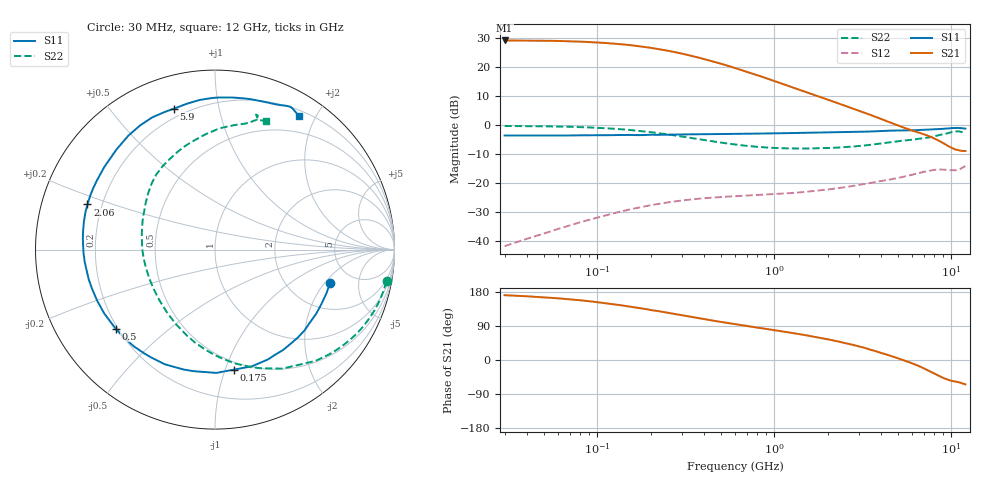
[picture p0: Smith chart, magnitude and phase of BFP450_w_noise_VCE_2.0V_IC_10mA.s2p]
! Infineon Technologies  Discrete & RF Semiconductors
! BFP450
! VCE =  2.0 V,  IC =  10 mA
! Common Emitter S-Parameters:  Nov 2015
# GHz  S  MA  R  50
!  f  S11  S21  S12  S22
! GHz  MAG  ANG  MAG  ANG  MAG  ANG  MAG  ANG
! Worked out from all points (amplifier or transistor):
!   239 points, 30 MHz to 12 GHz, reference 50 ohm
!   highest |S21| = 29.2 dB at 30 MHz (marker M1)
!   |S21| within 3 dB of that: start of sweep to 223.6 MHz
!   unconditionally stable (mu >= 1): 2.063 GHz to end of sweep
!   at 300 MHz: K = 0.17, MSG = 25.3 dB, |S12| = -25.9 dB
!   at 1.88 GHz: K = 0.94, MSG = 15.9 dB, |S12| = -22.3 dB
!   at 12 GHz: K = 1.13, MAG = 0.4 dB, |S12| = -14.0 dB
!   lowest NFmin = 0.98 dB at 450 MHz
!   S11 on the Smith chart (normalised r, x): 30 MHz: 3.42, -2.27; 175 MHz: 0.44, -1.07; 500 MHz: 0.19, -0.34; 2.06 GHz: 0.14, +0.17; 5.9 GHz: 0.16, +0.74; 12 GHz: 0.28, +1.78
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0.03  0.6676 -16.0  28.81 171.0  0.0083 83.3  0.9718 -10.5
0.04  0.667 -21.3  28.67 168.2  0.0111 81.0  0.9663 -13.9
0.055  0.6661 -29.7  28.4 164.0  0.015 76.6  0.9553 -19.0
0.085  0.6721 -44.5  27.29 156.4  0.0225 70.0  0.9238 -29.0
0.105  0.6741 -53.8  26.36 151.5  0.0267 66.0  0.8978 -35.2
0.125  0.6766 -62.2  25.37 146.9  0.0307 62.1  0.8699 -41.1
0.15  0.682 -72.4  24.16 141.4  0.0352 57.7  0.8342 -48.1
0.175  0.677 -80.9  22.77 137.0  0.0386 53.7  0.7934 -54.0
0.2  0.687 -89.4  21.54 132.0  0.0421 50.3  0.7619 -60.5
0.24  0.6878 -100.0  19.64 126.1  0.0461 45.5  0.7085 -68.9
0.3  0.6975 -113.7  17.12 117.9  0.0508 39.9  0.6418 -80.5
0.36  0.6999 -124.1  15.01 111.7  0.0539 35.7  0.5881 -90.0
0.4  0.7036 -130.0  13.81 107.8  0.0555 33.4  0.5589 -95.8
0.5  0.7077 -141.5  11.42 100.4  0.0584 29.3  0.5034 -108.2
0.6  0.7125 -150.1  9.649 94.4  0.0602 26.7  0.4668 -118.3
0.9  0.723 -167.0  6.452 81.9  0.0641 23.2  0.4149 -140.3
1.2  0.7326 -178.2  4.77 72.9  0.0676 22.3  0.3999 -155.5
1.64  0.7446 169.8  3.425 62.4  0.0732 22.3  0.3996 -171.5
2.06  0.7536 160.5  2.682 53.6  0.0792 22.0  0.407 176.8
4.5  0.8081 121.1  1.118 11.3  0.1163 12.9  0.5108 133.6
5.9  0.8178 106.3  0.826 -7.4  0.1389 4.8  0.561 117.5
12  0.877 57.9  0.361 -64.3  0.1986 -38.7  0.7691 68.4
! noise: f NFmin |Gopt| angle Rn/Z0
0.45  0.98  0.18  155  -0.03
0.9  1.02  0.29  158  0.08
1.9  1.18  0.48  -176  0.07
2.4  1.44  0.51  -163  0.06
